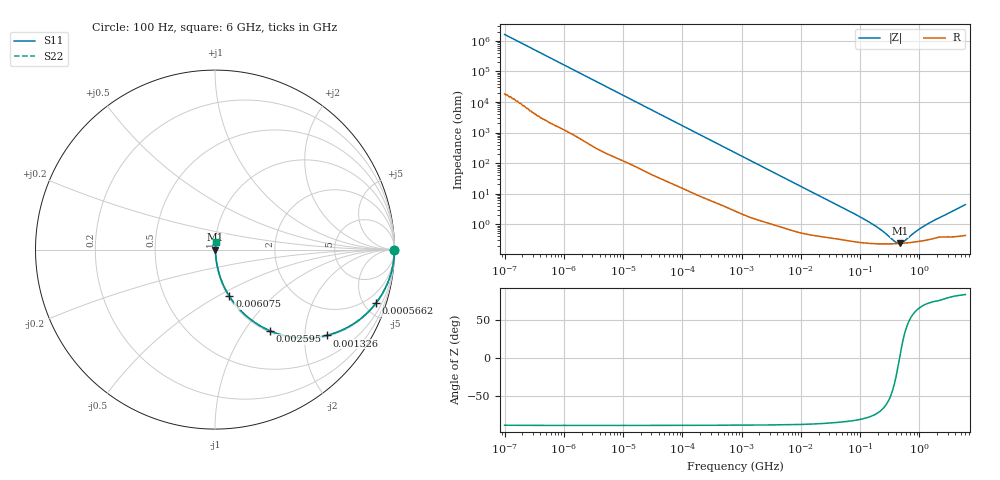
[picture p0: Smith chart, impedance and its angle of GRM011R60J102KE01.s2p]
!Murata Part Number: GRM011R60J102KE01
!These Parameters are Measured in Series Mode Connection
!Data Generated on Mar 30, 2021
!  o--ll--o
!Port1  Port2
!  o------o
!Operation Temp=25[degC], DC Bias Voltage=0[V]
!Freq. Start=100[Hz] Stop=6[GHz] 401[Steps]
# Hz S RI R 50
!Freq.(Hz) S11(Real) S11(Imag) S21(Real) S21(Imag) S12(Real) S12(Imag) S22(Real) S22(Imag)
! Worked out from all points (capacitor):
!   401 points, 100 Hz to 6 GHz, reference 50 ohm
!   read as one part in series: C = 977 pF near 109 Hz
!   lowest |Z| = 235 mohm at 467.5 MHz (marker M1)
!   series resonance near 464.1 MHz, so ESL is about 120 pH
!   S11 on the Smith chart (normalised r, x): 100 Hz: open; 566.2 kHz: 1.07, -5.99; 1.326 MHz: 1.03, -2.57; 2.595 MHz: 1.02, -1.32; 6.075 MHz: 1.01, -0.57; 6 GHz: 1.01, +0.09
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100  1 -6.16e-05  7e-07 6.16e-05  7e-07 6.16e-05  1 -6.16e-05
150  1 -9.18e-05  1e-06 9.18e-05  1e-06 9.18e-05  1 -9.18e-05
179  1 -0.00011  1.1e-06 0.00011  1.1e-06 0.00011  1 -0.00011
2008  1 -0.00122  1.01e-05 0.00122  1.01e-05 0.00122  1 -0.00122
40335  0.9992 -0.0241  0.000772 0.0241  0.000772 0.0241  0.9992 -0.0241
184852  0.9871 -0.1082  0.0129 0.1082  0.0129 0.1082  0.9871 -0.1082
566185  0.897 -0.2981  0.103 0.2981  0.103 0.2981  0.897 -0.2981
774597  0.8252 -0.3737  0.1748 0.3737  0.1748 0.3737  0.8252 -0.3737
1325623  0.622 -0.4782  0.378 0.4782  0.378 0.4782  0.622 -0.4782
2594782  0.307 -0.4527  0.693 0.4527  0.693 0.4527  0.307 -0.4527
3882480  0.1693 -0.365  0.8307 0.365  0.8307 0.365  0.1693 -0.365
6075234  0.0803 -0.26  0.9197 0.26  0.9197 0.26  0.0803 -0.26
1.555665e7  0.0166 -0.1097  0.9834 0.1097  0.9834 0.1097  0.0166 -0.1097
1.275994e8  0.00257 -0.0131  0.9974 0.0131  0.9974 0.0131  0.00257 -0.0131
2.088084e8  0.00232 -0.00691  0.9977 0.00691  0.9977 0.00691  0.00232 -0.00691
3.124326e8  0.00228 -0.00316  0.9977 0.00316  0.9977 0.00316  0.00228 -0.00316
3.908258e8  0.0023 -0.00134  0.9977 0.00134  0.9977 0.00134  0.0023 -0.00134
4.674818e8  0.00234 5.66e-05  0.9977 -5.66e-05  0.9977 -5.66e-05  0.00234 5.66e-05
5.346885e8  0.00239 0.00109  0.9976 -0.00109  0.9976 -0.00109  0.00239 0.00109
8.749838e8  0.00268 0.00511  0.9973 -0.00511  0.9973 -0.00511  0.00268 0.00511
1.369159e9  0.00314 0.0096  0.9969 -0.0096  0.9969 -0.0096  0.00314 0.0096
6e9  0.00616 0.0433  0.9938 -0.0433  0.9938 -0.0433  0.00616 0.0433
